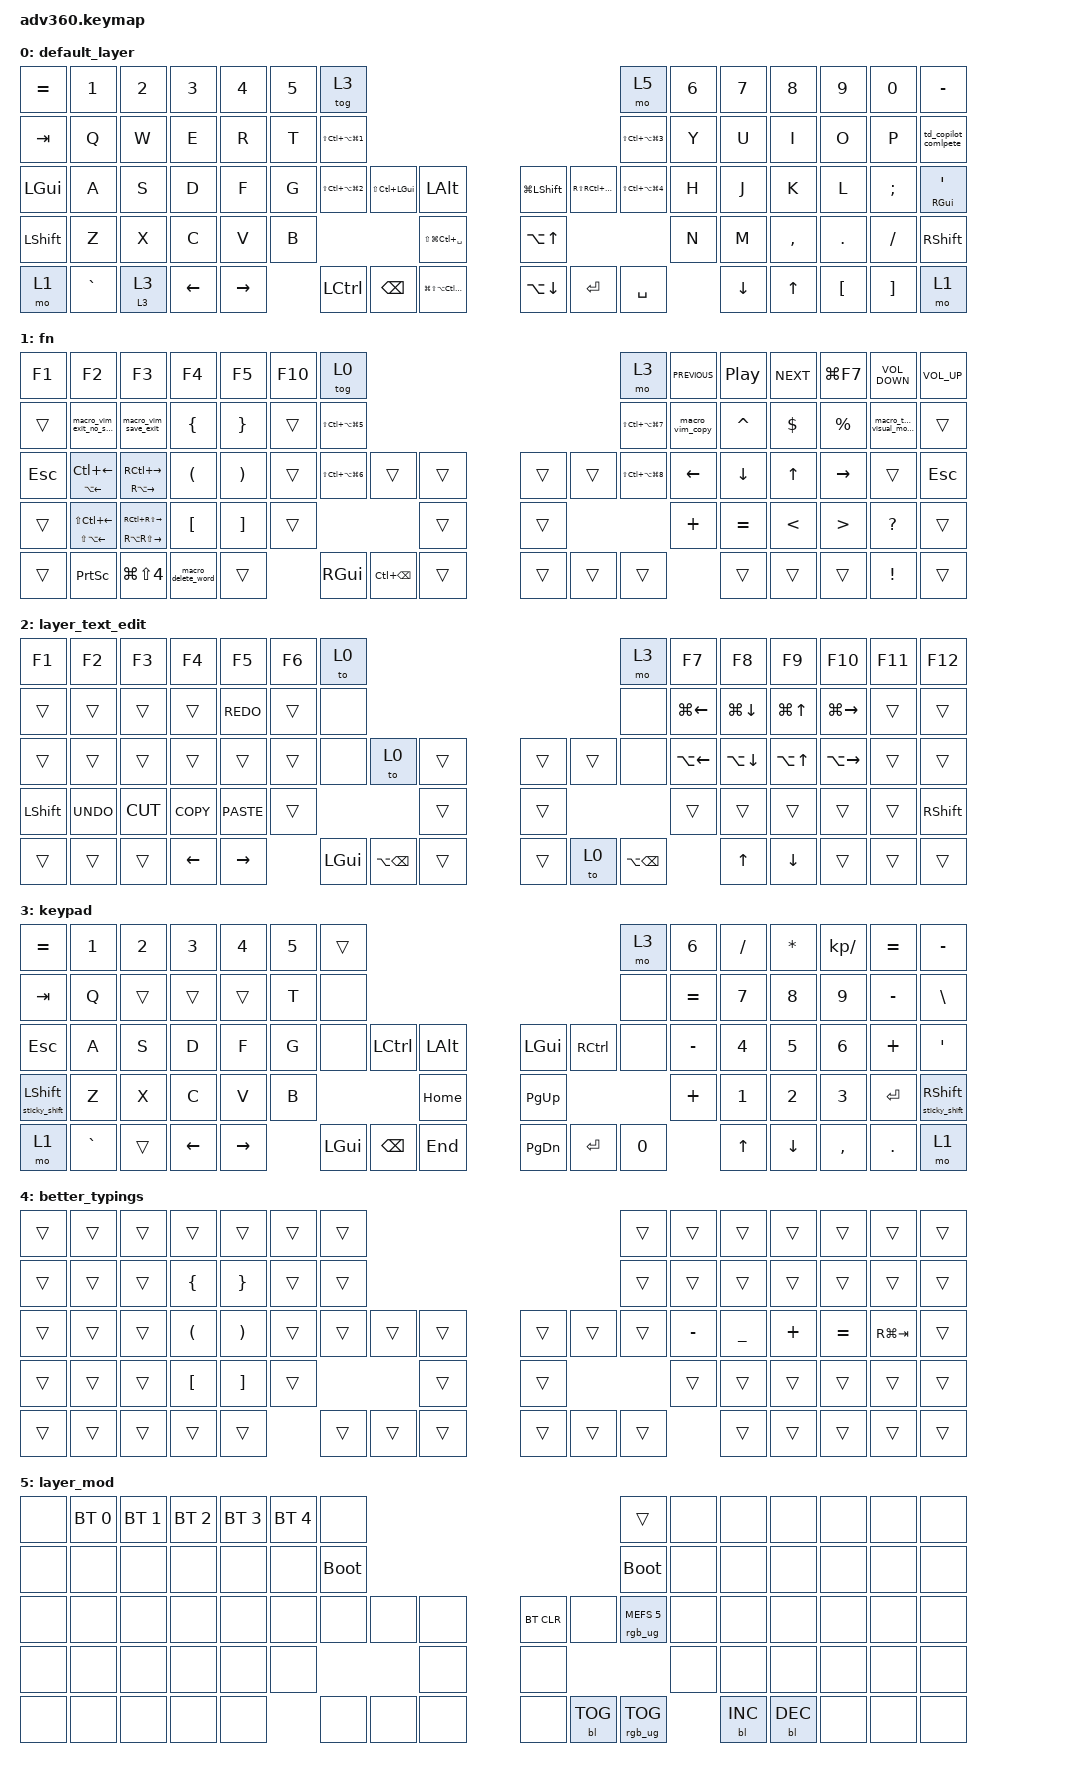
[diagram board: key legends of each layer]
/*
 * Copyright (c) 2020 The ZMK Contributors
 *
 * SPDX-License-Identifier: MIT
 */
/* THIS FILE WAS GENERATED!
 *
 * This file was generated automatically. You may or may not want to
 * edit it directly.
 */

#include <behaviors.dtsi>
#include <dt-bindings/zmk/backlight.h>
#include <dt-bindings/zmk/bt.h>
#include <dt-bindings/zmk/keys.h>
#include <dt-bindings/zmk/rgb.h>

&mt { tapping-term-ms = <300>; };

&lt {
    require-prior-idle-ms = <150>;
    tapping-term-ms = <280>;
};

/ {
    combos {
        compatible = "zmk,combos";

        combo_minus {
            bindings = <&kp MINUS>;
            key-positions = <23 22>;
            timeout-ms = <50>;
        };

        combo_underscore {
            bindings = <&kp UNDERSCORE>;
            key-positions = <55 56>;
            timeout-ms = <50>;
        };
    };
};

/ {
    behaviors {
        td0: tap_dance_0 {
            compatible = "zmk,behavior-tap-dance";
            label = "TAP DANCE CMD";
            #binding-cells = <0>;
            tapping-term-ms = <350>;
            bindings = <&kp LGUI>, <&kp RGUI>;
        };

        td1: tap_dance_1 {
            compatible = "zmk,behavior-tap-dance";
            label = "TAP DANCE LCTRL to ESC";
            #binding-cells = <0>;
            tapping-term-ms = <200>;
            bindings = <&kp LCTRL>, <&kp ESC>;
        };

        hm: homerow_mods {
            compatible = "zmk,behavior-hold-tap";
            label = "HOMEROW_MODS";
            #binding-cells = <2>;
            tapping-term-ms = <200>;
            quick_tap_ms = <175>;
            flavor = "tap-preferred";
            bindings = <&kp>, <&kp>;
        };

        hml: hml {
            compatible = "zmk,behavior-hold-tap";
            label = "HML";
            #binding-cells = <2>;
            tapping-term-ms = <280>;
            flavor = "balanced";
            bindings = <&kp>, <&kp>;

            hold-trigger-key-positions = <7 8 9 10 11 12 13 7 21 37 38 39 53 69 7 8 9 10 11 12 13 21 22 23 24 25 26 27 37 38 39 40 41 42 43 44 45 54 55 56 57 58 59 70 71 72 73 74 75 68 29 30 31 32>;
            require-prior-idle-ms = <225>;
            hold-trigger-on-release;
            quick-tap-ms = <175>;
        };

        hmr: hmr {
            compatible = "zmk,behavior-hold-tap";
            label = "HMR";
            #binding-cells = <2>;
            tapping-term-ms = <280>;
            quick_tap_ms = <175>;
            flavor = "balanced";
            bindings = <&kp>, <&kp>;

            hold-trigger-key-positions = <0 1 2 3 4 5 6 14 15 16 17 18 19 20 28 29 30 31 32 33 34 35 36 46 47 48 49 50 51 52 60 61 62 63 64 65 66 67 44 43 42 41>;
            require-prior-idle-ms = <225>;
            hold-trigger-on-release;
        };

        nmp: nmp {
            compatible = "zmk,behavior-hold-tap";
            label = "NMP";
            #binding-cells = <2>;
            tapping-term-ms = <280>;
            flavor = "balanced";
            bindings = <&mo>, <&sl>;

            hold-trigger-key-positions = <12 37 12 23 24 25 26 37 41 42 43 44 55 56 57 58 70 71 72 73 74 50 11 10 9>;
            require-prior-idle-ms = <225>;
            hold-trigger-on-release;
            quick-tap-ms = <175>;
        };

        btr: btr {
            compatible = "zmk,behavior-hold-tap";
            label = "BTR";
            #binding-cells = <2>;
            tapping-term-ms = <280>;
            quick_tap_ms = <175>;
            flavor = "balanced";
            bindings = <&mo>, <&kp>;

            hold-trigger-key-positions = <16 17 18 30 31 32 48 49 50 56>;
            require-prior-idle-ms = <225>;
            hold-trigger-on-release;
        };

        btl: btl {
            compatible = "zmk,behavior-hold-tap";
            label = "BTL";
            #binding-cells = <2>;
            tapping-term-ms = <280>;
            quick_tap_ms = <175>;
            flavor = "balanced";
            bindings = <&mo>, <&kp>;

            hold-trigger-key-positions = <23 23 24 25 26 41 42 43 44 55 56 57 58 49>;
            require-prior-idle-ms = <225>;
            hold-trigger-on-release;
        };

        hml_shift: hml_shift {
            compatible = "zmk,behavior-hold-tap";
            label = "HML_SHIFT";
            #binding-cells = <2>;
            tapping-term-ms = <280>;
            flavor = "balanced";
            bindings = <&kp>, <&kp>;

            hold-trigger-key-positions = <7 8 9 10 11 12 13 7 21 37 38 39 53 69 7 8 9 10 11 12 13 21 22 23 24 25 26 27 37 38 39 40 41 42 43 44 45 54 55 56 57 58 59 70 71 72 73 74 75 68 32>;
            require-prior-idle-ms = <100>;
            hold-trigger-on-release;
            quick-tap-ms = <175>;
        };

        td_shift_caps: td_shift_caps {
            compatible = "zmk,behavior-tap-dance";
            label = "TD_SHIFT_CAPS";
            #binding-cells = <0>;
            bindings = <&sticky_shift LEFT_SHIFT>, <&caps_word>;
        };

        td_comma: td_comma {
            compatible = "zmk,behavior-tap-dance";
            label = "TD_COMMA";
            #binding-cells = <0>;
            bindings = <&kp PERIOD>, <&macro_comma_space>;
        };

        td_copilot_comlpete: td_copilot_comlpete {
            compatible = "zmk,behavior-tap-dance";
            label = "TD_COPILOT_COMLPETE";
            #binding-cells = <0>;
            bindings = <&kp BSLH>, <&kp LC(BSLH)>;
        };

        td_workspace_1: td_workspace_1 {
            compatible = "zmk,behavior-tap-dance";
            label = "TD_WORKSPACE_1";
            #binding-cells = <0>;
            bindings = <&kp NUMBER_1>, <&kp LC(NUMBER_1)>;
        };

        td_workspace_3: td_workspace_3 {
            compatible = "zmk,behavior-tap-dance";
            label = "TD_WORKSPACE_3";
            #binding-cells = <0>;
            bindings = <&kp NUMBER_3>, <&kp LC(NUMBER_3)>;
        };

        td_workspace_2: td_workspace_2 {
            compatible = "zmk,behavior-tap-dance";
            label = "TD_WORKSPACE_2";
            #binding-cells = <0>;
            bindings = <&kp NUMBER_2>, <&kp LC(NUMBER_2)>;
        };

        td_workspace_4: td_workspace_4 {
            compatible = "zmk,behavior-tap-dance";
            label = "TD_WORKSPACE_4";
            #binding-cells = <0>;
            bindings = <&kp NUMBER_4>, <&kp LC(NUMBER_4)>;
        };

        sticky_shift: sticky_shift {
            compatible = "zmk,behavior-sticky-key";
            label = "STICKY_SHIFT";
            bindings = <&kp>;
            #binding-cells = <1>;
            quick-release;
            release-after-ms = <1000>;
        };
    };

    macros {
        macro_vim_copy: macro_vim_copy {
            compatible = "zmk,behavior-macro";
            #binding-cells = <0>;
            bindings = <&kp DOUBLE_QUOTES &kp ASTERISK &kp Y>;
            label = "MACRO_VIM_COPY";
        };

        macro_tmux_visual_mode: macro_tmux_visual_mode {
            compatible = "zmk,behavior-macro";
            #binding-cells = <0>;
            bindings = <&kp LC(A) &kp LBKT>;
            label = "MACRO_TMUX_VISUAL_MODE";
        };

        macro_delete_word: macro_delete_word {
            compatible = "zmk,behavior-macro";
            #binding-cells = <0>;
            bindings = <&kp LA(BACKSPACE)>;
            label = "MACRO_DELETE_WORD";
        };

        macro_vim_save_exit: macro_vim_save_exit {
            compatible = "zmk,behavior-macro";
            #binding-cells = <0>;
            bindings = <&kp COLON &kp W &kp Q &kp ENTER>;
            label = "MACRO_VIM_SAVE_EXIT";
        };

        macro_vim_exit_no_save: macro_vim_exit_no_save {
            compatible = "zmk,behavior-macro";
            #binding-cells = <0>;
            bindings = <&kp COLON &kp Q &kp A &kp EXCL &kp ENTER>;
            label = "MACRO_VIM_EXIT_NO_SAVE";
        };

        macro_comma_space: macro_comma_space {
            compatible = "zmk,behavior-macro";
            #binding-cells = <0>;
            bindings = <&kp LS(SLASH) &kp SPACE>;
            label = "MACRO_COMMA_SPACE";
        };
    };

    keymap {
        compatible = "zmk,keymap";

        default_layer {
            bindings = <
&kp EQUAL       &kp NUMBER_1  &kp NUMBER_2  &kp NUMBER_3  &kp NUMBER_4  &kp N5  &tog 3                                                                                                     &mo 5                   &kp N6  &kp N7    &kp N8        &kp N9      &kp N0         &kp MINUS
&kp TAB         &kp Q         &kp W         &kp E         &kp R         &kp T   &kp LS(LC(LA(LG(N1))))                                                                                     &kp LS(LC(LA(LG(N3))))  &kp Y   &kp U     &kp I         &kp O       &kp P          &td_copilot_comlpete
&kp LGUI        &kp A         &kp S         &kp D         &kp F         &kp G   &kp LS(LC(LA(LG(N2))))  &kp LS(LC(LGUI))  &kp LALT                   &kp LG(LEFT_SHIFT)  &kp RS(RC(RGUI))  &kp LS(LC(LA(LG(N4))))  &kp H   &kp J     &kp K         &kp L       &kp SEMICOLON  &mt RGUI SINGLE_QUOTE
&kp LEFT_SHIFT  &kp Z         &kp X         &kp C         &kp V         &kp B                                             &kp LS(LG(LC(SPACE)))      &kp LA(UP_ARROW)                                              &kp N   &kp M     &kp COMMA     &kp PERIOD  &kp FSLH       &kp RIGHT_SHIFT
&mo 1           &kp GRAVE     &nmp 3 3      &kp LEFT      &kp RIGHT             &kp LCTRL               &kp BACKSPACE     &kp LG(LS(LA(LC(M))))      &kp LA(DOWN)        &kp ENTER         &kp SPACE                       &kp DOWN  &kp UP_ARROW  &kp LBKT    &kp RBKT       &mo 1
            >;
        };

        fn {
            bindings = <
&kp F1   &kp F2                                     &kp F3                           &kp F4              &kp F5    &kp F10  &tog 0                                                                 &mo 3                   &kp C_PREVIOUS   &kp C_PLAY_PAUSE  &kp C_NEXT     &kp LG(F7)        &kp C_VOLUME_DOWN        &kp C_VOLUME_UP
&trans   &macro_vim_exit_no_save                    &macro_vim_save_exit             &kp LBRC            &kp RBRC  &trans   &kp LS(LC(LA(LG(N5))))                                                 &kp LS(LC(LA(LG(N7))))  &macro_vim_copy  &kp CARET         &kp DOLLAR     &kp PERCENT       &macro_tmux_visual_mode  &trans
&kp ESC  &mt LA(LEFT) LC(LEFT_ARROW)                &mt RA(RIGHT) RC(RIGHT)          &kp LPAR            &kp RPAR  &trans   &kp LS(LC(LA(LG(N6))))  &trans             &trans      &trans  &trans  &kp LS(LC(LA(LG(N8))))  &kp LEFT         &kp DOWN          &kp UP         &kp RIGHT         &trans                   &kp ESC
&trans   &mt LS(LA(LEFT_ARROW)) LS(LC(LEFT_ARROW))  &mt RA(RS(RIGHT)) RC(RS(RIGHT))  &kp LBKT            &kp RBKT  &trans                                              &trans      &trans                                  &kp PLUS         &kp EQUAL         &kp LESS_THAN  &kp GREATER_THAN  &kp QUESTION             &trans
&trans   &kp PRINTSCREEN                            &kp LG(LS(NUMBER_4))             &macro_delete_word  &trans             &kp RGUI                &kp LC(BACKSPACE)  &trans      &trans  &trans  &trans                                   &trans            &trans         &trans            &kp EXCLAMATION          &trans
            >;
        };

        layer_text_edit {
            bindings = <
&kp F1     &kp F2      &kp F3     &kp F4      &kp F5       &kp F6  &to 0                                                    &mo 3              &kp F7        &kp F8        &kp F9      &kp F10        &kp F11  &kp F12
&trans     &trans      &trans     &trans      &kp K_REDO   &trans  &none                                                    &none              &kp LG(LEFT)  &kp LG(DOWN)  &kp LG(UP)  &kp LG(RIGHT)  &trans   &trans
&trans     &trans      &trans     &trans      &trans       &trans  &none     &to 0              &trans      &trans  &trans  &none              &kp LA(LEFT)  &kp LA(DOWN)  &kp LA(UP)  &kp LA(RIGHT)  &trans   &trans
&kp LSHFT  &kp K_UNDO  &kp K_CUT  &kp K_COPY  &kp K_PASTE  &trans                               &trans      &trans                             &trans        &trans        &trans      &trans         &trans   &kp RSHIFT
&trans     &trans      &trans     &kp LEFT    &kp RIGHT            &kp LGUI  &kp LA(BACKSPACE)  &trans      &trans  &to 0   &kp LA(BACKSPACE)                &kp UP        &kp DOWN    &trans         &trans   &trans
            >;
        };

        keypad {
            bindings = <
&kp EQUAL            &kp N1     &kp N2  &kp N3    &kp N4     &kp N5  &trans                                                           &mo 3   &kp N6     &kp SLASH     &kp ASTERISK  &kp KP_DIVIDE  &kp EQUAL  &kp MINUS
&kp TAB              &kp Q      &trans  &trans    &trans     &kp T   &none                                                            &none   &kp EQUAL  &kp N7        &kp N8        &kp NUMBER_9   &kp MINUS  &kp BSLH
&kp ESC              &kp A      &kp S   &kp D     &kp F      &kp G   &none         &kp LCTRL      &kp LALT      &kp LGUI   &kp RCTRL  &none   &kp MINUS  &kp NUMBER_4  &kp NUMBER_5  &kp N6         &kp PLUS   &kp SQT
&sticky_shift LSHFT  &kp Z      &kp X   &kp C     &kp V      &kp B                                &kp HOME      &kp PG_UP                     &kp PLUS   &kp NUMBER_1  &kp NUMBER_2  &kp NUMBER_3   &kp ENTER  &sticky_shift RSHFT
&mo 1                &kp GRAVE  &trans  &kp LEFT  &kp RIGHT          &kp LEFT_GUI  &kp BACKSPACE  &kp END       &kp PG_DN  &kp ENTER  &kp N0             &kp UP        &kp DOWN      &kp COMMA      &kp DOT    &mo 1
            >;
        };

        better_typings {
            bindings = <
&trans  &trans  &trans  &trans                &trans                 &trans  &trans                                      &trans  &trans     &trans          &trans    &trans     &trans       &trans
&trans  &trans  &trans  &kp LEFT_BRACE        &kp RIGHT_BRACE        &trans  &trans                                      &trans  &trans     &trans          &trans    &trans     &trans       &trans
&trans  &trans  &trans  &kp LEFT_PARENTHESIS  &kp RIGHT_PARENTHESIS  &trans  &trans  &trans  &trans      &trans  &trans  &trans  &kp MINUS  &kp UNDERSCORE  &kp PLUS  &kp EQUAL  &kp RG(TAB)  &trans
&trans  &trans  &trans  &kp LEFT_BRACKET      &kp RIGHT_BRACKET      &trans                  &trans      &trans                  &trans     &trans          &trans    &trans     &trans       &trans
&trans  &trans  &trans  &trans                &trans                         &trans  &trans  &trans      &trans  &trans  &trans             &trans          &trans    &trans     &trans       &trans
            >;
        };

        layer_mod {
            bindings = <
&none  &bt BT_SEL 0  &bt BT_SEL 1  &bt BT_SEL 2  &bt BT_SEL 3  &bt BT_SEL 4  &none                                                  &trans                  &none  &none       &none       &none  &none  &none
&none  &none         &none         &none         &none         &none         &bootloader                                            &bootloader             &none  &none       &none       &none  &none  &none
&none  &none         &none         &none         &none         &none         &none        &none  &none      &bt BT_CLR  &none       &rgb_ug RGB_MEFS_CMD 5  &none  &none       &none       &none  &none  &none
&none  &none         &none         &none         &none         &none                             &none      &none                                           &none  &none       &none       &none  &none  &none
&none  &none         &none         &none         &none                       &none        &none  &none      &none       &bl BL_TOG  &rgb_ug RGB_TOG                &bl BL_INC  &bl BL_DEC  &none  &none  &none
            >;
        };
    };
};
